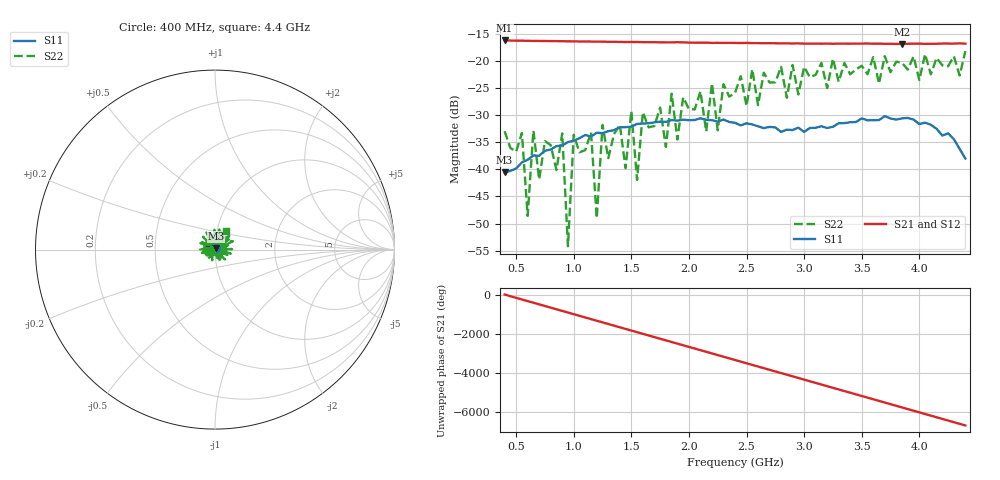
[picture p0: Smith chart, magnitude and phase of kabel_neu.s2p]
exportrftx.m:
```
cable = dlmread('16-Dec-2014/kabel_neu.s2p', '\t', 5, 0);
cable = -20*log10(abs(cable(:,6)+1j*cable(:,7)));

basedir = '../tex/data/rf/tx/';

mkdir(strcat(basedir, '1.0'));
mkdir(strcat(basedir, '0.8'));
mkdir(strcat(basedir, '0.821.0'));
mkdir(strcat(basedir, '1db'));

load('16-Dec-2014/tx_50_8_0.8.mat');
powscorr = repmat(cable',8,1)+reshape(log10(mean(10.^pows,2)),8,81);

for i = 1:length(gains)
    dlmwrite(sprintf('%s/%1.1f/%2.1f', basedir, ampl, gains(i)), [rffreqs' powscorr(i,:)'], 'delimiter', '\t');
end

load('16-Dec-2014/tx_50_8_0.8.mat');
powscorr = repmat(cable',8,1)+reshape(log10(mean(10.^pows,2)),8,81);

powscorr = mag2db(db2mag(powscorr) / 0.8);

for i = 1:length(gains)
    dlmwrite(sprintf('%s/%1.1f21.0/%2.1f', basedir, ampl, gains(i)), [rffreqs' powscorr(i,:)'], 'delimiter', '\t');
end

for i = 1:length(rffreqs)
    dlmwrite(sprintf('%s/1db/%1.2f', basedir, rffreqs(i)/1e9), [gains' powscorr(:,i)], 'delimiter', '\t');
end

load('16-Dec-2014/tx_50_8_1.0.mat');
powscorr = repmat(cable',8,1)+reshape(log10(mean(10.^pows,2)),8,81);

for i = 1:length(gains)
    dlmwrite(sprintf('%s/%1.1f/%2.1f', basedir, ampl, gains(i)), [rffreqs' powscorr(i,:)'], 'delimiter', '\t');
end

%%
% 
% xlabel('gain/dB');
% ylabel('dBm');
% 
% xlabel('f/Hz');
% ylabel('dBm');
```
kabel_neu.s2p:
#  HZ  S  RI  R  50.0
! Rohde & Schwarz ZVL
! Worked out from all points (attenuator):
!   81 points, 400 MHz to 4.4 GHz, reference 50 ohm
!   highest |S21| = -16.27 dB at 400 MHz (marker M1); lowest = -16.9 dB at 3.85 GHz (marker M2)
!   lowest |S11| = -40.6 dB at 400 MHz (marker M3), VSWR 1.02, Z = 50.6 + j0.738 ohm
!   |S11| at or under -10 dB: start of sweep to end of sweep
!   |S22| runs from -54.2 to -18.2 dB; largest |S21 - S12| = 0.0015
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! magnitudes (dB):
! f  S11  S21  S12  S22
! 400 MHz  -40.6  -16.3  -16.3  -33.0
! 600 MHz  -38.2  -16.3  -16.3  -48.6
! 650 MHz  -37.4  -16.3  -16.3  -32.9
! 900 MHz  -35.6  -16.4  -16.4  -33.4
! 950 MHz  -35.0  -16.4  -16.4  -54.2
! 1 GHz  -34.7  -16.4  -16.4  -33.6
! 1.2 GHz  -33.3  -16.5  -16.5  -49.0
! 1.25 GHz  -33.3  -16.5  -16.5  -31.8
! 2.4 GHz  -31.4  -16.7  -16.7  -25.9
! 3.85 GHz  -30.6  -16.9  -16.9  -20.4
! 4.4 GHz  -38.0  -16.8  -16.9  -18.2
